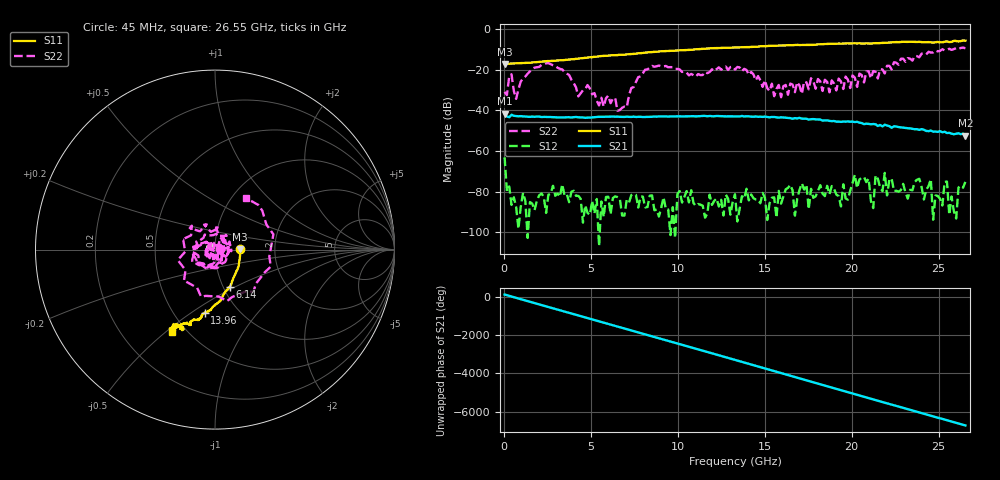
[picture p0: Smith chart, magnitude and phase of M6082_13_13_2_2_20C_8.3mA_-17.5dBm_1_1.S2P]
!  2-Port S-parameters saved by WinCal
! VAR MeasName=S-Parameters (CALIBRATED_DATA) read from VNA (C)
! VAR MeasDate=10/16/2015 11:01:16 AM
! VAR NAME=M6082_13_13_2_2_20C_8.3mA_-17.5dBm
! VAR FILENAME=M6082_13_13_2_2_20C_8.3mA_-17.5dBm_1_1.S2P
! VAR DATE=10/16/2015 11:01:16 AM
! VAR PHYS_PORTS=2,1
! VAR ObjTypeName=DATASET
! VAR IndexType=Frequency
# Hz S RI R 50
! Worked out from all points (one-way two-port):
!   201 points, 45 MHz to 26.55 GHz, reference 50 ohm
!   highest |S21| = -41.63 dB at 45 MHz (marker M1); lowest = -52.5 dB at 26.55 GHz (marker M2)
!   lowest |S11| = -17.3 dB at 45 MHz (marker M3), VSWR 1.32, Z = 65.9 + j0.157 ohm
!   |S11| at or under -10 dB: start of sweep to 11.12 GHz
!   |S22| runs from -40.2 to -9.2 dB; largest |S21 - S12| = 0.008
!   S11 on the Smith chart (normalised r, x): 45 MHz: 1.32, +0.00; 6.14 GHz: 1.07, -0.47; 13.96 GHz: 0.70, -0.57; 26.55 GHz: 0.42, -0.52
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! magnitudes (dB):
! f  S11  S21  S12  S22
! 45 MHz  -17.3  -41.6  -63.2  -30.9
! 177.5 MHz  -17.2  -43.0  -79.7  -32.5
! 442.5 MHz  -17.0  -42.2  -86.5  -22.3
! 707.5 MHz  -17.0  -42.8  -87.5  -34.4
! 1.105 GHz  -16.8  -43.0  -80.6  -24.3
! 2.562 GHz  -15.8  -43.3  -81.5  -16.8
! 4.55 GHz  -14.4  -43.5  -95.2  -30.2
! 6.14 GHz  -13.0  -43.1  -91.1  -36.5
! 7.067 GHz  -12.5  -43.1  -84.0  -38.5
! 7.73 GHz  -12.0  -43.2  -87.8  -23.7
! 8.922 GHz  -11.1  -43.0  -92.2  -18.0
! 13.29 GHz  -9.1  -43.0  -81.3  -20.0
! 13.96 GHz  -9.0  -42.9  -78.6  -20.2
! 15.55 GHz  -8.3  -43.3  -82.8  -33.1
! 17.8 GHz  -7.8  -44.3  -83.0  -25.7
! 18.73 GHz  -7.3  -45.2  -81.4  -31.2
! 19.79 GHz  -7.1  -45.5  -83.9  -25.0
! 20.18 GHz  -7.1  -45.8  -71.7  -23.9
! 20.32 GHz  -7.1  -45.7  -78.2  -28.5
! 22.17 GHz  -6.7  -47.8  -74.0  -18.2
! 22.7 GHz  -6.5  -48.3  -80.0  -17.6
! 26.55 GHz  -5.8  -52.5  -75.2  -9.5
